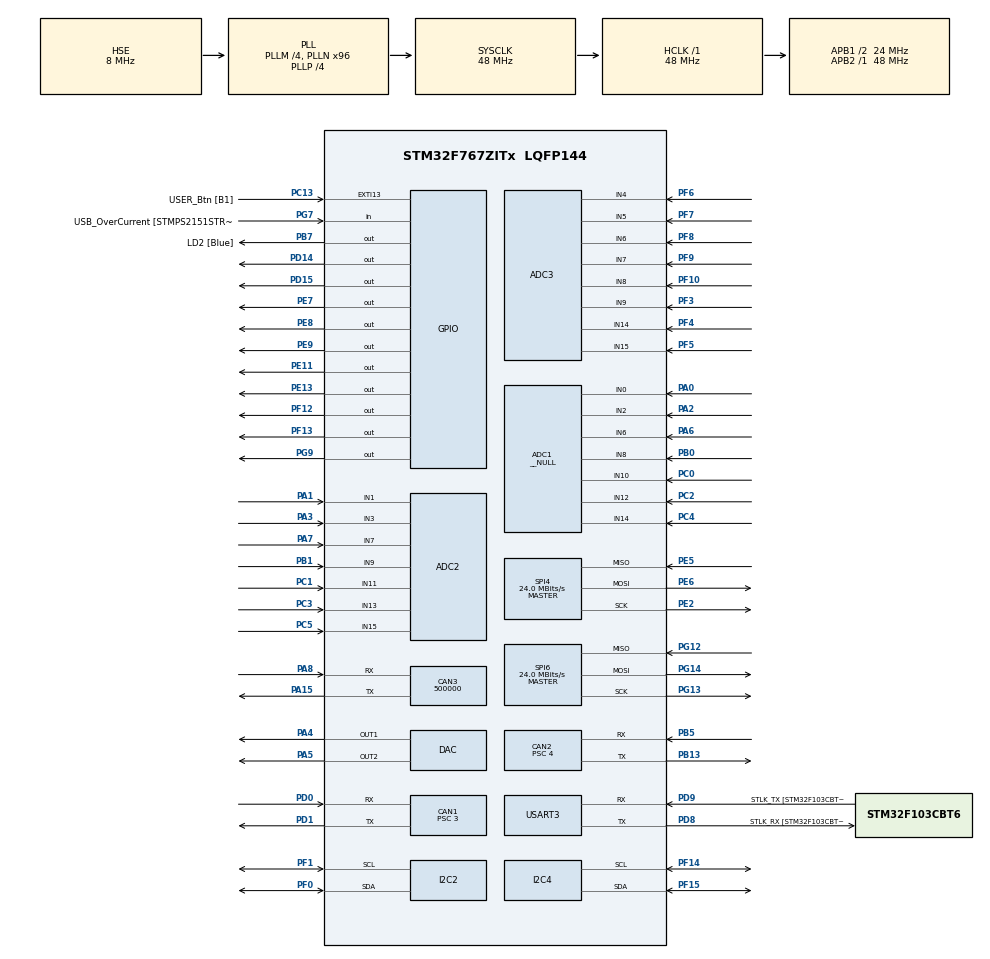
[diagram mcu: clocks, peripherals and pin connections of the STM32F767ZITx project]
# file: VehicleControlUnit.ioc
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ADC1.Channel-2\#ChannelRegularConversion=ADC_CHANNEL_0
ADC1.Channel-3\#ChannelRegularConversion=ADC_CHANNEL_2
ADC1.Channel-4\#ChannelRegularConversion=ADC_CHANNEL_6
ADC1.Channel-5\#ChannelRegularConversion=ADC_CHANNEL_8
ADC1.Channel-6\#ChannelRegularConversion=ADC_CHANNEL_10
ADC1.Channel-7\#ChannelRegularConversion=ADC_CHANNEL_12
ADC1.Channel-8\#ChannelRegularConversion=ADC_CHANNEL_12
ADC1.ClockPrescaler=ADC_CLOCK_SYNC_PCLK_DIV4
ADC1.ContinuousConvMode=DISABLE
ADC1.DMAContinuousRequests=ENABLE
ADC1.EOCSelection=ADC_EOC_SEQ_CONV
ADC1.ExternalTrigConv=ADC_EXTERNALTRIGCONV_T2_TRGO
ADC1.Mode=__NULL
ADC1.NbrOfConversion=7
ADC1.NbrOfConversionFlag=1
ADC1.Rank-2\#ChannelRegularConversion=1
ADC1.Rank-3\#ChannelRegularConversion=2
ADC1.Rank-4\#ChannelRegularConversion=3
ADC1.Rank-5\#ChannelRegularConversion=4
ADC1.Rank-6\#ChannelRegularConversion=5
ADC1.Rank-7\#ChannelRegularConversion=6
ADC1.Rank-8\#ChannelRegularConversion=7
ADC1.SamplingTime-2\#ChannelRegularConversion=ADC_SAMPLETIME_28CYCLES
ADC1.SamplingTime-3\#ChannelRegularConversion=ADC_SAMPLETIME_28CYCLES
ADC1.SamplingTime-4\#ChannelRegularConversion=ADC_SAMPLETIME_28CYCLES
ADC1.SamplingTime-5\#ChannelRegularConversion=ADC_SAMPLETIME_28CYCLES
ADC1.SamplingTime-6\#ChannelRegularConversion=ADC_SAMPLETIME_28CYCLES
ADC1.SamplingTime-7\#ChannelRegularConversion=ADC_SAMPLETIME_28CYCLES
ADC1.SamplingTime-8\#ChannelRegularConversion=ADC_SAMPLETIME_28CYCLES
ADC1.master=1
ADC2.Channel-2\#ChannelRegularConversion=ADC_CHANNEL_1
ADC2.Channel-3\#ChannelRegularConversion=ADC_CHANNEL_3
ADC2.Channel-4\#ChannelRegularConversion=ADC_CHANNEL_7
ADC2.Channel-5\#ChannelRegularConversion=ADC_CHANNEL_9
ADC2.Channel-6\#ChannelRegularConversion=ADC_CHANNEL_11
ADC2.Channel-7\#ChannelRegularConversion=ADC_CHANNEL_13
ADC2.Channel-8\#ChannelRegularConversion=ADC_CHANNEL_15
ADC2.ClockPrescaler=ADC_CLOCK_SYNC_PCLK_DIV4
ADC2.ContinuousConvMode=DISABLE
ADC2.DMAContinuousRequests=ENABLE
ADC2.EOCSelection=ADC_EOC_SEQ_CONV
ADC2.ExternalTrigConv=ADC_EXTERNALTRIGCONV_T2_TRGO
ADC2.NbrOfConversion=7
ADC2.NbrOfConversionFlag=1
ADC2.Rank-2\#ChannelRegularConversion=1
ADC2.Rank-3\#ChannelRegularConversion=2
ADC2.Rank-4\#ChannelRegularConversion=3
ADC2.Rank-5\#ChannelRegularConversion=4
ADC2.Rank-6\#ChannelRegularConversion=5
ADC2.Rank-7\#ChannelRegularConversion=6
ADC2.Rank-8\#ChannelRegularConversion=7
ADC2.SamplingTime-2\#ChannelRegularConversion=ADC_SAMPLETIME_28CYCLES
ADC2.SamplingTime-3\#ChannelRegularConversion=ADC_SAMPLETIME_28CYCLES
ADC2.SamplingTime-4\#ChannelRegularConversion=ADC_SAMPLETIME_28CYCLES
ADC2.SamplingTime-5\#ChannelRegularConversion=ADC_SAMPLETIME_28CYCLES
ADC2.SamplingTime-6\#ChannelRegularConversion=ADC_SAMPLETIME_28CYCLES
ADC2.SamplingTime-7\#ChannelRegularConversion=ADC_SAMPLETIME_28CYCLES
ADC2.SamplingTime-8\#ChannelRegularConversion=ADC_SAMPLETIME_28CYCLES
ADC3.Channel-10\#ChannelRegularConversion=ADC_CHANNEL_14
ADC3.Channel-11\#ChannelRegularConversion=ADC_CHANNEL_15
ADC3.Channel-4\#ChannelRegularConversion=ADC_CHANNEL_4
ADC3.Channel-5\#ChannelRegularConversion=ADC_CHANNEL_5
ADC3.Channel-6\#ChannelRegularConversion=ADC_CHANNEL_6
ADC3.Channel-7\#ChannelRegularConversion=ADC_CHANNEL_7
ADC3.Channel-8\#ChannelRegularConversion=ADC_CHANNEL_8
ADC3.Channel-9\#ChannelRegularConversion=ADC_CHANNEL_9
ADC3.ClockPrescaler=ADC_CLOCK_SYNC_PCLK_DIV4
ADC3.DMAContinuousRequests=ENABLE
ADC3.ExternalTrigConv=ADC_EXTERNALTRIGCONV_T2_TRGO
ADC3.NbrOfConversion=8
ADC3.NbrOfConversionFlag=1
ADC3.Rank-10\#ChannelRegularConversion=7
ADC3.Rank-11\#ChannelRegularConversion=8
ADC3.Rank-4\#ChannelRegularConversion=1
ADC3.Rank-5\#ChannelRegularConversion=2
ADC3.Rank-6\#ChannelRegularConversion=3
ADC3.Rank-7\#ChannelRegularConversion=4
ADC3.Rank-8\#ChannelRegularConversion=5
ADC3.Rank-9\#ChannelRegularConversion=6
ADC3.SamplingTime-10\#ChannelRegularConversion=ADC_SAMPLETIME_28CYCLES
ADC3.SamplingTime-11\#ChannelRegularConversion=ADC_SAMPLETIME_28CYCLES
ADC3.SamplingTime-4\#ChannelRegularConversion=ADC_SAMPLETIME_28CYCLES
ADC3.SamplingTime-5\#ChannelRegularConversion=ADC_SAMPLETIME_28CYCLES
ADC3.SamplingTime-6\#ChannelRegularConversion=ADC_SAMPLETIME_28CYCLES
ADC3.SamplingTime-7\#ChannelRegularConversion=ADC_SAMPLETIME_28CYCLES
ADC3.SamplingTime-8\#ChannelRegularConversion=ADC_SAMPLETIME_28CYCLES
ADC3.SamplingTime-9\#ChannelRegularConversion=ADC_SAMPLETIME_28CYCLES
CAN1.BS1=CAN_BS1_13TQ
CAN1.BS2=CAN_BS2_2TQ
CAN1.CalculateBaudRate=500000
CAN1.CalculateTimeBit=2000
CAN1.CalculateTimeQuantum=125.0
CAN1.Prescaler=3
CAN2.BS1=CAN_BS1_10TQ
CAN2.CalculateBaudRate=500000
CAN2.CalculateTimeBit=2000
CAN2.CalculateTimeQuantum=166.66666666666666
CAN2.Prescaler=4
CAN3.CalculateBaudRate=500000
CAN3.CalculateTimeBit=2000
CAN3.CalculateTimeQuantum=666.6666666666666
CORTEX_M7.CPU_DCache=Disabled
CORTEX_M7.CPU_ICache=Disabled
DAC.DAC_Trigger=DAC_TRIGGER_T2_TRGO
DAC.DAC_Trigger2=DAC_TRIGGER_T2_TRGO
Dma.ADC1.0.Direction=DMA_PERIPH_TO_MEMORY
Dma.ADC1.0.FIFOMode=DMA_FIFOMODE_DISABLE
Dma.ADC1.0.Instance=DMA2_Stream0
Dma.ADC1.0.MemDataAlignment=DMA_MDATAALIGN_WORD
Dma.ADC1.0.MemInc=DMA_MINC_ENABLE
Dma.ADC1.0.Mode=DMA_CIRCULAR
Dma.ADC1.0.PeriphDataAlignment=DMA_PDATAALIGN_WORD
Dma.ADC1.0.PeriphInc=DMA_PINC_DISABLE
Dma.ADC1.0.Priority=DMA_PRIORITY_LOW
Dma.ADC2.1.Direction=DMA_PERIPH_TO_MEMORY
Dma.ADC2.1.FIFOMode=DMA_FIFOMODE_DISABLE
Dma.ADC2.1.Instance=DMA2_Stream2
Dma.ADC2.1.MemDataAlignment=DMA_MDATAALIGN_WORD
Dma.ADC2.1.MemInc=DMA_MINC_ENABLE
Dma.ADC2.1.Mode=DMA_CIRCULAR
Dma.ADC2.1.PeriphDataAlignment=DMA_PDATAALIGN_WORD
Dma.ADC2.1.PeriphInc=DMA_PINC_DISABLE
Dma.ADC2.1.Priority=DMA_PRIORITY_LOW
Dma.ADC3.2.Direction=DMA_PERIPH_TO_MEMORY
Dma.ADC3.2.FIFOMode=DMA_FIFOMODE_DISABLE
Dma.ADC3.2.Instance=DMA2_Stream1
Dma.ADC3.2.MemDataAlignment=DMA_MDATAALIGN_WORD
Dma.ADC3.2.MemInc=DMA_MINC_ENABLE
Dma.ADC3.2.Mode=DMA_CIRCULAR
Dma.ADC3.2.PeriphDataAlignment=DMA_PDATAALIGN_WORD
Dma.ADC3.2.PeriphInc=DMA_PINC_DISABLE
Dma.ADC3.2.Priority=DMA_PRIORITY_LOW
Dma.DAC1.3.Direction=DMA_MEMORY_TO_PERIPH
Dma.DAC1.3.FIFOMode=DMA_FIFOMODE_DISABLE
Dma.DAC1.3.Instance=DMA1_Stream5
Dma.DAC1.3.MemDataAlignment=DMA_MDATAALIGN_HALFWORD
Dma.DAC1.3.MemInc=DMA_MINC_ENABLE
Dma.DAC1.3.Mode=DMA_CIRCULAR
Dma.DAC1.3.PeriphDataAlignment=DMA_PDATAALIGN_HALFWORD
Dma.DAC1.3.PeriphInc=DMA_PINC_DISABLE
Dma.DAC1.3.Priority=DMA_PRIORITY_LOW
Dma.DAC2.4.Direction=DMA_MEMORY_TO_PERIPH
Dma.DAC2.4.FIFOMode=DMA_FIFOMODE_DISABLE
Dma.DAC2.4.Instance=DMA1_Stream6
Dma.DAC2.4.MemDataAlignment=DMA_MDATAALIGN_HALFWORD
Dma.DAC2.4.MemInc=DMA_MINC_ENABLE
Dma.DAC2.4.Mode=DMA_CIRCULAR
Dma.DAC2.4.PeriphDataAlignment=DMA_PDATAALIGN_HALFWORD
Dma.DAC2.4.PeriphInc=DMA_PINC_DISABLE
Dma.DAC2.4.Priority=DMA_PRIORITY_LOW
Dma.Request0=ADC1
Dma.Request1=ADC2
Dma.Request2=ADC3
Dma.Request3=DAC1
Dma.Request4=DAC2
FREERTOS.Tasks01=defaultTask,24,128,StartDefaultTask,Default,NULL,Dynamic,NULL,NULL
I2C2.Timing=0x00506682
I2C4.Timing=0x00506682
Mcu.Family=STM32F7
Mcu.Name=STM32F767ZITx
Mcu.Package=LQFP144
NVIC.CAN1_RX0_IRQn=true\:5\:0\:false\:false\:true\:true\:true\:true\:true
NVIC.CAN2_RX0_IRQn=true\:5\:0\:false\:false\:true\:true\:true\:true\:true
NVIC.DMA1_Stream5_IRQn=true\:5\:0\:false\:false\:true\:true\:false\:true\:true
NVIC.DMA1_Stream6_IRQn=true\:5\:0\:false\:false\:true\:true\:false\:true\:true
NVIC.DMA2_Stream0_IRQn=true\:5\:0\:false\:false\:true\:true\:false\:true\:true
NVIC.DMA2_Stream1_IRQn=true\:5\:0\:false\:false\:true\:true\:false\:true\:true
NVIC.DMA2_Stream2_IRQn=true\:5\:0\:false\:false\:true\:true\:false\:true\:true
NVIC.PriorityGroup=NVIC_PRIORITYGROUP_4
NVIC.TIM2_IRQn=true\:5\:0\:false\:false\:true\:true\:true\:true\:true
NVIC.USART3_IRQn=true\:5\:0\:false\:false\:true\:true\:true\:true\:true
PA0/WKUP.Signal=ADCx_IN0
PA1.Signal=ADCx_IN1
PA13.GPIO_Label=TMS
PA13.Mode=Trace_Asynchronous_SW
PA13.Signal=SYS_JTMS-SWDIO
PA14.GPIO_Label=TCK
PA14.Mode=Trace_Asynchronous_SW
PA14.Signal=SYS_JTCK-SWCLK
PA15.Mode=CAN_Activate
PA15.Signal=CAN3_TX
PA2.Signal=ADCx_IN2
PA3.Signal=ADCx_IN3
PA4.Signal=COMP_DAC1_group
PA5.Signal=COMP_DAC2_group
PA6.Signal=ADCx_IN6
PA7.Signal=ADCx_IN7
PA8.Mode=CAN_Activate
PA8.Signal=CAN3_RX
PB0.Signal=ADCx_IN8
PB1.Signal=ADCx_IN9
PB13.Mode=CAN_Activate
PB13.Signal=CAN2_TX
PB3.Mode=Trace_Asynchronous_SW
PB3.Signal=SYS_JTDO-SWO
PB5.Mode=CAN_Activate
PB5.Signal=CAN2_RX
PB7.GPIO_Label=LD2 [Blue]
PB7.Signal=GPIO_Output
PB8.Signal=SDMMC1_D4
PB9.Signal=SDMMC1_D5
PC0.Signal=ADCx_IN10
PC1.Signal=ADCx_IN11
PC10.Signal=SDMMC1_D2
PC11.Signal=SDMMC1_D3
PC12.Signal=SDMMC1_CK
PC13.GPIO_Label=USER_Btn [B1]
PC13.Signal=GPXTI13
PC14/OSC32_IN.Mode=LSE-External-Oscillator
PC14/OSC32_IN.Signal=RCC_OSC32_IN
PC15/OSC32_OUT.Mode=LSE-External-Oscillator
PC15/OSC32_OUT.Signal=RCC_OSC32_OUT
PC2.Signal=ADCx_IN12
PC3.Signal=ADCx_IN13
PC4.Signal=ADCx_IN14
PC5.Signal=ADCx_IN15
PC6.Signal=SDMMC1_D6
PC7.Signal=SDMMC1_D7
PC8.Signal=SDMMC1_D0
PC9.Signal=SDMMC1_D1
PD0.Mode=CAN_Activate
PD0.Signal=CAN1_RX
PD1.Mode=CAN_Activate
PD1.Signal=CAN1_TX
PD14.Signal=GPIO_Output
PD15.Signal=GPIO_Output
PD2.Signal=SDMMC1_CMD
PD8.GPIO_Label=STLK_RX [STM32F103CBT6_PA3]
PD8.Mode=Asynchronous
PD8.Signal=USART3_TX
PD9.GPIO_Label=STLK_TX [STM32F103CBT6_PA2]
PD9.Mode=Asynchronous
PD9.Signal=USART3_RX
PE11.Signal=GPIO_Output
PE13.Signal=GPIO_Output
PE2.Mode=Full_Duplex_Master
PE2.Signal=SPI4_SCK
PE5.Mode=Full_Duplex_Master
PE5.Signal=SPI4_MISO
PE6.Mode=Full_Duplex_Master
PE6.Signal=SPI4_MOSI
PE7.Signal=GPIO_Output
PE8.Signal=GPIO_Output
PE9.Signal=GPIO_Output
PF0.Mode=I2C
PF0.Signal=I2C2_SDA
PF1.Mode=I2C
PF1.Signal=I2C2_SCL
PF10.Mode=IN8
PF10.Signal=ADC3_IN8
PF12.Signal=GPIO_Output
PF13.Signal=GPIO_Output
PF14.Mode=I2C
PF14.Signal=I2C4_SCL
PF15.Mode=I2C
PF15.Signal=I2C4_SDA
PF3.Mode=IN9
PF3.Signal=ADC3_IN9
PF4.Mode=IN14
PF4.Signal=ADC3_IN14
PF5.Mode=IN15
PF5.Signal=ADC3_IN15
PF6.Mode=IN4
PF6.Signal=ADC3_IN4
PF7.Mode=IN5
PF7.Signal=ADC3_IN5
PF8.Mode=IN6
PF8.Signal=ADC3_IN6
PF9.Mode=IN7
PF9.Signal=ADC3_IN7
PG12.Mode=Full_Duplex_Master
PG12.Signal=SPI6_MISO
PG13.Mode=Full_Duplex_Master
PG13.Signal=SPI6_SCK
PG14.Mode=Full_Duplex_Master
PG14.Signal=SPI6_MOSI
PG7.GPIO_Label=USB_OverCurrent [STMPS2151STR_FAULT]
PG7.Signal=GPIO_Input
PG9.Signal=GPIO_Output
PH0/OSC_IN.GPIO_Label=MCO [STM32F103CBT6_PA8]
PH0/OSC_IN.Mode=HSE-External-Clock-Source
PH0/OSC_IN.Signal=RCC_OSC_IN
PH1/OSC_OUT.Mode=HSE-External-Clock-Source
PH1/OSC_OUT.Signal=RCC_OSC_OUT
ProjectManager.HeapSize=0x200
ProjectManager.StackSize=0x400
ProjectManager.TargetToolchain=STM32CubeIDE
RCC.48MHZClocksFreq_Value=24000000
RCC.AHBFreq_Value=48000000
RCC.APB1CLKDivider=RCC_HCLK_DIV2
RCC.APB1Freq_Value=24000000
RCC.APB1TimFreq_Value=48000000
RCC.APB2Freq_Value=48000000
RCC.APB2TimFreq_Value=48000000
RCC.CortexFreq_Value=48000000
RCC.HCLKFreq_Value=48000000
RCC.HSE_VALUE=8000000
RCC.HSI_VALUE=16000000
RCC.PLLM=4
RCC.PLLMUL=RCC_PLL_MUL9
RCC.PLLN=96
RCC.PLLP=RCC_PLLP_DIV4
RCC.PLLQ=4
RCC.PLLSourceVirtual=RCC_PLLSOURCE_HSE
RCC.PRESCALERUSB=RCC_USBCLKSOURCE_PLL_DIV1_5
RCC.SYSCLKFreq_VALUE=48000000
RCC.SYSCLKSource=RCC_SYSCLKSOURCE_PLLCLK
RCC.SYSCLKSourceVirtual=RCC_SYSCLKSOURCE_PLLCLK
RCC.USBFreq_Value=48000000
RCC.VCOOutputFreq_Value=192000000
SH.ADCx_IN0.0=ADC1_IN0,IN0
SH.ADCx_IN1.0=ADC2_IN1,IN1
SH.ADCx_IN10.0=ADC1_IN10,IN10
SH.ADCx_IN11.0=ADC2_IN11,IN11
SH.ADCx_IN12.0=ADC1_IN12,IN12
SH.ADCx_IN13.0=ADC2_IN13,IN13
SH.ADCx_IN14.0=ADC1_IN14,IN14
SH.ADCx_IN15.0=ADC2_IN15,IN15
SH.ADCx_IN2.0=ADC1_IN2,IN2
SH.ADCx_IN3.0=ADC2_IN3,IN3
SH.ADCx_IN6.0=ADC1_IN6,IN6
SH.ADCx_IN7.0=ADC2_IN7,IN7
SH.ADCx_IN8.0=ADC1_IN8,IN8
SH.ADCx_IN9.0=ADC2_IN9,IN9
SH.COMP_DAC1_group.0=DAC_OUT1,DAC_OUT1
SH.COMP_DAC2_group.0=DAC_OUT2,DAC_OUT2
SPI4.CalculateBaudRate=24.0 MBits/s
SPI4.Direction=SPI_DIRECTION_2LINES
SPI4.Mode=SPI_MODE_MASTER
SPI4.VirtualType=VM_MASTER
SPI6.CalculateBaudRate=24.0 MBits/s
SPI6.Direction=SPI_DIRECTION_2LINES
SPI6.Mode=SPI_MODE_MASTER
SPI6.VirtualType=VM_MASTER
TIM1.Period=999
TIM1.Prescaler=47999
TIM2.Period=479999
TIM2.Prescaler=0
TIM2.TIM_MasterOutputTrigger=TIM_TRGO_UPDATE
USART3.VirtualMode-Asynchronous=VM_ASYNC
VP_FREERTOS_VS_CMSIS_V2.Mode=CMSIS_V2
VP_TIM1_VS_ClockSourceINT.Mode=Internal
VP_TIM2_VS_ClockSourceINT.Mode=Internal
board=NUCLEO-F767ZI

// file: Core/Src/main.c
/* USER CODE BEGIN Header */
/**
  ******************************************************************************
  * @file           : main.c
  * @brief          : Main program body
  ******************************************************************************
  * @attention
  *
  * Copyright (c) 2024 STMicroelectronics.
  * All rights reserved.
  *
  * This software is licensed under terms that can be found in the LICENSE file
  * in the root directory of this software component.
  * If no LICENSE file comes with this software, it is provided AS-IS.
  *
  ******************************************************************************
  */
/* USER CODE END Header */
#include "main.h"
#include "cmsis_os.h"

/* USER CODE BEGIN Includes */
#include "../Inc/Files/can1_dbc.h"
#include "../Inc/Scheduler/Scheduler.h"
#include "../Inc/Sensors/AnalogSensor.h"
#include "../Inc/Systems/Comms/Can/Can.h"
#include "../Inc/Systems/Controller/Apps.h"
#include "../Inc/Systems/Controller/BrakeSystemControl.h"
#include "../Inc/Systems/Controller/RTD.h"
#include "../Inc/Systems/Controller/TorqueControl.h"
#include "../Inc/Systems/External/Inverter.h"
#include "../Inc/Systems/Monitor/AppsMonitor.h"
#include "../Inc/Systems/Monitor/BrakePolice.h"
#include "../Inc/Systems/Monitor/RTDMonitor.h"
#include "../Inc/Systems/Monitor/TorquePolice.h"
#include "../Inc/Utils/Constants.h"
#include "../Inc/Utils/Telemetry.h"

#ifndef TEST_MODE
#include "stm32f7xx_hal_adc.h"
#include "stm32f7xx_it.h"
#endif
/* USER CODE END Includes */

/* USER CODE BEGIN PM */
#ifndef TEST_MODE
/* USER CODE END PM */

ADC_HandleTypeDef hadc1;
ADC_HandleTypeDef hadc2;
ADC_HandleTypeDef hadc3;
DMA_HandleTypeDef hdma_adc1;
DMA_HandleTypeDef hdma_adc2;
DMA_HandleTypeDef hdma_adc3;

CAN_HandleTypeDef hcan1;
CAN_HandleTypeDef hcan2;
CAN_HandleTypeDef hcan3;

DAC_HandleTypeDef hdac;
DMA_HandleTypeDef hdma_dac1;
DMA_HandleTypeDef hdma_dac2;

I2C_HandleTypeDef hi2c2;
I2C_HandleTypeDef hi2c4;

SPI_HandleTypeDef hspi4;
SPI_HandleTypeDef hspi6;

TIM_HandleTypeDef htim1;
TIM_HandleTypeDef htim2;

UART_HandleTypeDef huart3;

/* Definitions for defaultTask */
osThreadId_t defaultTaskHandle;
const osThreadAttr_t defaultTask_attributes = {
  .name = "defaultTask",
  .stack_size = 128 * 4,
  .priority = (osPriority_t) osPriorityNormal,
};

void SystemClock_Config(void);
static void MX_GPIO_Init(void);
static void MX_DMA_Init(void);
static void MX_TIM1_Init(void);
static void MX_ADC1_Init(void);
static void MX_ADC2_Init(void);
static void MX_ADC3_Init(void);
static void MX_CAN1_Init(void);
static void MX_CAN2_Init(void);
static void MX_USART3_UART_Init(void);
static void MX_TIM2_Init(void);
static void MX_DAC_Init(void);
static void MX_CAN3_Init(void);
static void MX_I2C2_Init(void);
static void MX_I2C4_Init(void);
static void MX_SPI4_Init(void);
static void MX_SPI6_Init(void);
void StartDefaultTask(void *argument);

/* USER CODE BEGIN PFP */
#endif
/* USER CODE END PFP */

/* USER CODE BEGIN 0 */
uint32_t adc1_buffer[ADC1_CHANNEL_SIZE];
uint32_t adc2_buffer[ADC2_CHANNEL_SIZE];
uint32_t adc3_buffer[ADC3_CHANNEL_SIZE];
uint32_t dac1_buffer[DAC1_BUFFER_SIZE];
uint32_t dac2_buffer[DAC2_BUFFER_SIZE];
uint8_t digital_out_buffer[NUM_DIGITAL_OUTPUTS];
uint8_t digital_in_buffer[NUM_DIGITAL_INPUTS];

/* USER CODE END 0 */

int main(void)
{

  /* USER CODE BEGIN 1 */

  #ifndef TEST_MODE

  /* USER CODE END 1 */

  /* MCU Configuration--------------------------------------------------------*/

  /* Reset of all peripherals, Initializes the Flash interface and the Systick. */
  HAL_Init();

  /* Configure the system clock */
  SystemClock_Config();

  /* Initialize all configured peripherals */
  MX_GPIO_Init();
  MX_DMA_Init();
  MX_TIM1_Init();
  MX_ADC1_Init();
  MX_ADC2_Init();
  MX_ADC3_Init();
  MX_CAN1_Init();
  MX_CAN2_Init();
  MX_USART3_UART_Init();
  MX_TIM2_Init();
  MX_DAC_Init();
  MX_CAN3_Init();
  MX_I2C2_Init();
  MX_I2C4_Init();
  MX_SPI4_Init();
  MX_SPI6_Init();
  /* USER CODE BEGIN 2 */

  // Clear the screen
  printf("\033[2J\033[1;1H");
  printf("Welcome to VCU!!!\r\n");
  if (init_CANBus(CAN_1) != 0) {
    printf("CAN1 init failed\r\n");
  }

  // Init Telemetry
  initTelemetry();

  // Begin ADC DMA
  if(HAL_ADC_Start_DMA(&hadc1, (uint32_t*)adc1_buffer, 7) != HAL_OK) {
	  Error_Handler();
  }

  if(HAL_ADC_Start_DMA(&hadc2, (uint32_t*)adc2_buffer, 7) != HAL_OK) {
    Error_Handler();
  }

  if(HAL_ADC_Start_DMA(&hadc3, (uint32_t*)adc3_buffer, 8) != HAL_OK) {
    Error_Handler();
  }

  // Begin DAC DMA
  if(HAL_DAC_Start_DMA(&hdac, DAC_CHANNEL_1, (uint32_t*)dac1_buffer, DAC1_BUFFER_SIZE, DAC_ALIGN_12B_R) != HAL_OK) {
    Error_Handler();
  }

  __HAL_UART_ENABLE_IT(&huart3, UART_IT_RXNE);
  initUartConfigListener();

  uint32_t multi_mode = (ADC123_COMMON->CCR & ADC_CCR_MULTI);
  printf("ADC Multi-mode: 0x%08lX\r\n", multi_mode);

  #endif

  // Add a message to the CAN message list
  CAN_Signal_Template signals[8] = {
    { .name = "VDD", .start_bit = 0, .length = 8, .endian = 0, .isSigned = 0, .scale = 0.1, .offset = 0, .min = 0, .max = 255, .unit = "voltage", .reciever = "reciever" },
    { .name = "Char 2", .start_bit = 8, .length = 8, .endian = 0, .isSigned = 0, .scale = 1, .offset = 0, .min = 0, .max = 255, .unit = "unit", .reciever = "reciever" },
    { .name = "Char 3", .start_bit = 16, .length = 8, .endian = 0, .isSigned = 0, .scale = 1, .offset = 0, .min = 0, .max = 255, .unit = "unit", .reciever = "reciever" },
    { .name = "Char 4", .start_bit = 24, .length = 8, .endian = 0, .isSigned = 0, .scale = 1, .offset = 0, .min = 0, .max = 255, .unit = "unit", .reciever = "reciever" },
    { .name = "Char 5", .start_bit = 32, .length = 8, .endian = 0, .isSigned = 0, .scale = 1, .offset = 0, .min = 0, .max = 255, .unit = "unit", .reciever = "reciever" },
    { .name = "Char 6", .start_bit = 40, .length = 8, .endian = 0, .isSigned = 0, .scale = 1, .offset = 0, .min = 0, .max = 255, .unit = "unit", .reciever = "reciever" },
    { .name = "Char 7", .start_bit = 48, .length = 8, .endian = 0, .isSigned = 0, .scale = 1, .offset = 0, .min = 0, .max = 255, .unit = "unit", .reciever = "reciever" },
    { .name = "Char 8", .start_bit = 56, .length = 8, .endian = 0, .isSigned = 0, .scale = 1, .offset = 0, .min = 0, .max = 255, .unit = "unit", .reciever = "reciever" }
  };

  add_message_lop(CAN_1, 0x123, 8, 0, 0, "Message 1", "AD3", 8, signals);

  add_message_lop(CAN_1, 0x124, 8, 0, 0, "Message 2", "VCU", 8, signals);

  // Print the CAN message list
  print_CAN_Messages_Lists();

  uint8_t txdata[8] = {0, 1, 2, 3, 4, 5, 6, 7};
  send_CAN_message(CAN_1, CAN_2A, 124, txdata, 8);

  // Make Apps Controller and Monitor
  Apps apps;
  initApps(&apps, 10, 8, 4);

  AppsMonitor am;
  initAppsMonitor(&am, &apps, 10);

  // Bind Appsmonitor to Apps
  apps.base.addMonitor(&apps, &am);

  // Start the Apps Monitor
  startAppsMonitor(&am);

  // Make Break Controller and Monitor
  BrakeSystemControl bsc;
  initBrakeSystemControl(&bsc, 10, 200, 400, 1000, 10, 5, 6, 0);

  BrakePolice bp;
  initBrakePolice(&bp, &bsc, 100, 200);

  // Bind BrakePolice to BrakeSystemControl
  bsc.base.addMonitor(&bsc, &bp);

  // Start the Brake Controller and Monitor
  startBrakeSystemControl(&bsc);
  startBrakePolice(&bp);

  // Make RTD Controller and Monitor
  RTD rtd;
  initRTD(&rtd, &apps, &bsc, 10, 0, 1);

  RTDMonitor rm;
  initRTDMonitor(&rm, &rtd, 10);

  // Bind RTDMonitor to RTD
  rtd.base.addMonitor(&rtd, &rm);

  // Start the RTD Controller and Monitor
  startRTD(&rtd);
  startRTDMonitor(&rm);

  // Make Torque Controller and Monitor
  TorqueControl tc;
  initTorqueControl(&tc, &apps, 10, 240);

  TorquePolice tp;
  initTorquePolice(&tp, &tc, &bsc, &rtd, 100, 240);

  // Bind TorquePolice to TorqueControl
  tc.base.addMonitor(&tc, &tp);

  // Start the Torque Controller and Monitor
  startTorqueControl(&tc);
  startTorquePolice(&tp);

  // Make Inverter
  Inverter inverter;
  initInverter(&inverter, &tc, 10, 200, 100, 400);

  // Make Scheduler from updateable array
  Scheduler scheduler;

  Updateable* updateables[6];
  updateables[0] = &apps.base.system.updateable;
  updateables[1] = &bsc.base.system.updateable;
  updateables[2] = &rtd.base.system.updateable;
  updateables[3] = &tc.base.system.updateable;
  updateables[4] = &inverter.base.system.updateable;
  updateables[5] = NULL;

  SchedulerInit(&scheduler, updateables);

  printf("Starting Vehicle Control Unit with FreeRTOS scheduler...\n");

  // Start the Scheduler
  SchedulerRun(&scheduler);
  /* USER CODE END 2 */

  /* Init scheduler */
  osKernelInitialize();

  /* Create the thread(s) */
  /* creation of defaultTask */
  defaultTaskHandle = osThreadNew(StartDefaultTask, NULL, &defaultTask_attributes);

  /* Start scheduler */
  osKernelStart();

  /* We should never get here as control is now taken by the scheduler */

  /* Infinite loop */
  /* USER CODE BEGIN WHILE */
  while (1)
  {
    printf("ERROR: Scheduler returned unexpectedly!\n");
    HAL_Delay(1000);
    /* USER CODE END WHILE */

    /* USER CODE BEGIN 3 */
  }
  #ifndef TEST_MODE
  /* USER CODE END 3 */
}

void SystemClock_Config(void)
{
  RCC_OscInitTypeDef RCC_OscInitStruct = {0};
  RCC_ClkInitTypeDef RCC_ClkInitStruct = {0};

  /** Configure LSE Drive Capability
  */
  HAL_PWR_EnableBkUpAccess();

  /** Configure the main internal regulator output voltage
  */
  __HAL_RCC_PWR_CLK_ENABLE();
  __HAL_PWR_VOLTAGESCALING_CONFIG(PWR_REGULATOR_VOLTAGE_SCALE3);

  /** Initializes the RCC Oscillators according to the specified parameters
  * in the RCC_OscInitTypeDef structure.
  */
  RCC_OscInitStruct.OscillatorType = RCC_OSCILLATORTYPE_HSE;
  RCC_OscInitStruct.HSEState = RCC_HSE_BYPASS;
  RCC_OscInitStruct.PLL.PLLState = RCC_PLL_ON;
  RCC_OscInitStruct.PLL.PLLSource = RCC_PLLSOURCE_HSE;
  RCC_OscInitStruct.PLL.PLLM = 4;
  RCC_OscInitStruct.PLL.PLLN = 96;
  RCC_OscInitStruct.PLL.PLLP = RCC_PLLP_DIV4;
  RCC_OscInitStruct.PLL.PLLQ = 4;
  RCC_OscInitStruct.PLL.PLLR = 2;
  if (HAL_RCC_OscConfig(&RCC_OscInitStruct) != HAL_OK)
  {
    Error_Handler();
  }

  /** Initializes the CPU, AHB and APB buses clocks
  */
  RCC_ClkInitStruct.ClockType = RCC_CLOCKTYPE_HCLK|RCC_CLOCKTYPE_SYSCLK
                              |RCC_CLOCKTYPE_PCLK1|RCC_CLOCKTYPE_PCLK2;
  RCC_ClkInitStruct.SYSCLKSource = RCC_SYSCLKSOURCE_PLLCLK;
  RCC_ClkInitStruct.AHBCLKDivider = RCC_SYSCLK_DIV1;
  RCC_ClkInitStruct.APB1CLKDivider = RCC_HCLK_DIV2;
  RCC_ClkInitStruct.APB2CLKDivider = RCC_HCLK_DIV1;

  if (HAL_RCC_ClockConfig(&RCC_ClkInitStruct, FLASH_LATENCY_1) != HAL_OK)
  {
    Error_Handler();
  }
}

static void MX_ADC1_Init(void)
{

  ADC_ChannelConfTypeDef sConfig = {0};

  /** Configure the global features of the ADC (Clock, Resolution, Data Alignment and number of conversion)
  */
  hadc1.Instance = ADC1;
  hadc1.Init.ClockPrescaler = ADC_CLOCK_SYNC_PCLK_DIV4;
  hadc1.Init.Resolution = ADC_RESOLUTION_12B;
  hadc1.Init.ScanConvMode = ADC_SCAN_ENABLE;
  hadc1.Init.ContinuousConvMode = DISABLE;
  hadc1.Init.DiscontinuousConvMode = DISABLE;
  hadc1.Init.ExternalTrigConvEdge = ADC_EXTERNALTRIGCONVEDGE_RISING;
  hadc1.Init.ExternalTrigConv = ADC_EXTERNALTRIGCONV_T2_TRGO;
  hadc1.Init.DataAlign = ADC_DATAALIGN_RIGHT;
  hadc1.Init.NbrOfConversion = 7;
  hadc1.Init.DMAContinuousRequests = ENABLE;
  hadc1.Init.EOCSelection = ADC_EOC_SEQ_CONV;
  if (HAL_ADC_Init(&hadc1) != HAL_OK)
  {
    Error_Handler();
  }

  /** Configure for the selected ADC regular channel its corresponding rank in the sequencer and its sample time.
  */
  sConfig.Channel = ADC_CHANNEL_0;
  sConfig.Rank = ADC_REGULAR_RANK_1;
  sConfig.SamplingTime = ADC_SAMPLETIME_28CYCLES;
  if (HAL_ADC_ConfigChannel(&hadc1, &sConfig) != HAL_OK)
  {
    Error_Handler();
  }

  /** Configure for the selected ADC regular channel its corresponding rank in the sequencer and its sample time.
  */
  sConfig.Channel = ADC_CHANNEL_2;
  sConfig.Rank = ADC_REGULAR_RANK_2;
  if (HAL_ADC_ConfigChannel(&hadc1, &sConfig) != HAL_OK)
  {
    Error_Handler();
  }

  /** Configure for the selected ADC regular channel its corresponding rank in the sequencer and its sample time.
  */
  sConfig.Channel = ADC_CHANNEL_6;
  sConfig.Rank = ADC_REGULAR_RANK_3;
  if (HAL_ADC_ConfigChannel(&hadc1, &sConfig) != HAL_OK)
  {
    Error_Handler();
  }

  /** Configure for the selected ADC regular channel its corresponding rank in the sequencer and its sample time.
  */
  sConfig.Channel = ADC_CHANNEL_8;
  sConfig.Rank = ADC_REGULAR_RANK_4;
  if (HAL_ADC_ConfigChannel(&hadc1, &sConfig) != HAL_OK)
  {
    Error_Handler();
  }

  /** Configure for the selected ADC regular channel its corresponding rank in the sequencer and its sample time.
  */
  sConfig.Channel = ADC_CHANNEL_10;
  sConfig.Rank = ADC_REGULAR_RANK_5;
  if (HAL_ADC_ConfigChannel(&hadc1, &sConfig) != HAL_OK)
  {
    Error_Handler();
  }

  /** Configure for the selected ADC regular channel its corresponding rank in the sequencer and its sample time.
  */
  sConfig.Channel = ADC_CHANNEL_12;
  sConfig.Rank = ADC_REGULAR_RANK_6;
  if (HAL_ADC_ConfigChannel(&hadc1, &sConfig) != HAL_OK)
  {
    Error_Handler();
  }

  /** Configure for the selected ADC regular channel its corresponding rank in the sequencer and its sample time.
  */
  sConfig.Rank = ADC_REGULAR_RANK_7;
  if (HAL_ADC_ConfigChannel(&hadc1, &sConfig) != HAL_OK)
  {
    Error_Handler();
  }

}

static void MX_ADC2_Init(void)
{

  ADC_ChannelConfTypeDef sConfig = {0};

  /** Configure the global features of the ADC (Clock, Resolution, Data Alignment and number of conversion)
  */
  hadc2.Instance = ADC2;
  hadc2.Init.ClockPrescaler = ADC_CLOCK_SYNC_PCLK_DIV4;
  hadc2.Init.Resolution = ADC_RESOLUTION_12B;
  hadc2.Init.ScanConvMode = ADC_SCAN_ENABLE;
  hadc2.Init.ContinuousConvMode = DISABLE;
  hadc2.Init.DiscontinuousConvMode = DISABLE;
  hadc2.Init.ExternalTrigConvEdge = ADC_EXTERNALTRIGCONVEDGE_RISING;
  hadc2.Init.ExternalTrigConv = ADC_EXTERNALTRIGCONV_T2_TRGO;
  hadc2.Init.DataAlign = ADC_DATAALIGN_RIGHT;
  hadc2.Init.NbrOfConversion = 7;
  hadc2.Init.DMAContinuousRequests = ENABLE;
  hadc2.Init.EOCSelection = ADC_EOC_SEQ_CONV;
  if (HAL_ADC_Init(&hadc2) != HAL_OK)
  {
    Error_Handler();
  }

  /** Configure for the selected ADC regular channel its corresponding rank in the sequencer and its sample time.
  */
  sConfig.Channel = ADC_CHANNEL_1;
  sConfig.Rank = ADC_REGULAR_RANK_1;
  sConfig.SamplingTime = ADC_SAMPLETIME_28CYCLES;
  if (HAL_ADC_ConfigChannel(&hadc2, &sConfig) != HAL_OK)
  {
    Error_Handler();
  }

  /** Configure for the selected ADC regular channel its corresponding rank in the sequencer and its sample time.
  */
  sConfig.Channel = ADC_CHANNEL_3;
  sConfig.Rank = ADC_REGULAR_RANK_2;
  if (HAL_ADC_ConfigChannel(&hadc2, &sConfig) != HAL_OK)
  {
    Error_Handler();
  }

  /** Configure for the selected ADC regular channel its corresponding rank in the sequencer and its sample time.
  */
  sConfig.Channel = ADC_CHANNEL_7;
  sConfig.Rank = ADC_REGULAR_RANK_3;
  if (HAL_ADC_ConfigChannel(&hadc2, &sConfig) != HAL_OK)
  {
    Error_Handler();
  }

  /** Configure for the selected ADC regular channel its corresponding rank in the sequencer and its sample time.
  */
  sConfig.Channel = ADC_CHANNEL_9;
  sConfig.Rank = ADC_REGULAR_RANK_4;
  if (HAL_ADC_ConfigChannel(&hadc2, &sConfig) != HAL_OK)
  {
    Error_Handler();
  }

  /** Configure for the selected ADC regular channel its corresponding rank in the sequencer and its sample time.
  */
  sConfig.Channel = ADC_CHANNEL_11;
  sConfig.Rank = ADC_REGULAR_RANK_5;
  if (HAL_ADC_ConfigChannel(&hadc2, &sConfig) != HAL_OK)
  {
    Error_Handler();
  }

  /** Configure for the selected ADC regular channel its corresponding rank in the sequencer and its sample time.
  */
  sConfig.Channel = ADC_CHANNEL_13;
  sConfig.Rank = ADC_REGULAR_RANK_6;
  if (HAL_ADC_ConfigChannel(&hadc2, &sConfig) != HAL_OK)
  {
    Error_Handler();
  }

  /** Configure for the selected ADC regular channel its corresponding rank in the sequencer and its sample time.
  */
  sConfig.Channel = ADC_CHANNEL_15;
  sConfig.Rank = ADC_REGULAR_RANK_7;
  if (HAL_ADC_ConfigChannel(&hadc2, &sConfig) != HAL_OK)
  {
    Error_Handler();
  }

}

static void MX_ADC3_Init(void)
{

  ADC_ChannelConfTypeDef sConfig = {0};

  /** Configure the global features of the ADC (Clock, Resolution, Data Alignment and number of conversion)
  */
  hadc3.Instance = ADC3;
  hadc3.Init.ClockPrescaler = ADC_CLOCK_SYNC_PCLK_DIV4;
  hadc3.Init.Resolution = ADC_RESOLUTION_12B;
  hadc3.Init.ScanConvMode = ADC_SCAN_ENABLE;
  hadc3.Init.ContinuousConvMode = DISABLE;
  hadc3.Init.DiscontinuousConvMode = DISABLE;
  hadc3.Init.ExternalTrigConvEdge = ADC_EXTERNALTRIGCONVEDGE_RISING;
  hadc3.Init.ExternalTrigConv = ADC_EXTERNALTRIGCONV_T2_TRGO;
  hadc3.Init.DataAlign = ADC_DATAALIGN_RIGHT;
  hadc3.Init.NbrOfConversion = 8;
  hadc3.Init.DMAContinuousRequests = ENABLE;
  hadc3.Init.EOCSelection = ADC_EOC_SINGLE_CONV;
  if (HAL_ADC_Init(&hadc3) != HAL_OK)
  {
    Error_Handler();
  }

  /** Configure for the selected ADC regular channel its corresponding rank in the sequencer and its sample time.
  */
  sConfig.Channel = ADC_CHANNEL_4;
  sConfig.Rank = ADC_REGULAR_RANK_1;
  sConfig.SamplingTime = ADC_SAMPLETIME_28CYCLES;
  if (HAL_ADC_ConfigChannel(&hadc3, &sConfig) != HAL_OK)
  {
    Error_Handler();
  }

  /** Configure for the selected ADC regular channel its corresponding rank in the sequencer and its sample time.
  */
  sConfig.Channel = ADC_CHANNEL_5;
  sConfig.Rank = ADC_REGULAR_RANK_2;
  if (HAL_ADC_ConfigChannel(&hadc3, &sConfig) != HAL_OK)
  {
    Error_Handler();
  }

  /** Configure for the selected ADC regular channel its corresponding rank in the sequencer and its sample time.
  */
  sConfig.Channel = ADC_CHANNEL_6;
  sConfig.Rank = ADC_REGULAR_RANK_3;
  if (HAL_ADC_ConfigChannel(&hadc3, &sConfig) != HAL_OK)
  {
    Error_Handler();
  }

  /** Configure for the selected ADC regular channel its corresponding rank in the sequencer and its sample time.
  */
  sConfig.Channel = ADC_CHANNEL_7;
  sConfig.Rank = ADC_REGULAR_RANK_4;
  if (HAL_ADC_ConfigChannel(&hadc3, &sConfig) != HAL_OK)
  {
    Error_Handler();
  }

  /** Configure for the selected ADC regular channel its corresponding rank in the sequencer and its sample time.
  */
  sConfig.Channel = ADC_CHANNEL_8;
  sConfig.Rank = ADC_REGULAR_RANK_5;
  if (HAL_ADC_ConfigChannel(&hadc3, &sConfig) != HAL_OK)
  {
    Error_Handler();
  }

  /** Configure for the selected ADC regular channel its corresponding rank in the sequencer and its sample time.
  */
  sConfig.Channel = ADC_CHANNEL_9;
  sConfig.Rank = ADC_REGULAR_RANK_6;
  if (HAL_ADC_ConfigChannel(&hadc3, &sConfig) != HAL_OK)
  {
    Error_Handler();
  }

  /** Configure for the selected ADC regular channel its corresponding rank in the sequencer and its sample time.
  */
  sConfig.Channel = ADC_CHANNEL_14;
  sConfig.Rank = ADC_REGULAR_RANK_7;
  if (HAL_ADC_ConfigChannel(&hadc3, &sConfig) != HAL_OK)
  {
    Error_Handler();
  }

  /** Configure for the selected ADC regular channel its corresponding rank in the sequencer and its sample time.
  */
  sConfig.Channel = ADC_CHANNEL_15;
  sConfig.Rank = ADC_REGULAR_RANK_8;
  if (HAL_ADC_ConfigChannel(&hadc3, &sConfig) != HAL_OK)
  {
    Error_Handler();
  }

}

static void MX_CAN1_Init(void)
{

  hcan1.Instance = CAN1;
  hcan1.Init.Prescaler = 3;
  hcan1.Init.Mode = CAN_MODE_NORMAL;
  hcan1.Init.SyncJumpWidth = CAN_SJW_1TQ;
  hcan1.Init.TimeSeg1 = CAN_BS1_13TQ;
  hcan1.Init.TimeSeg2 = CAN_BS2_2TQ;
  hcan1.Init.TimeTriggeredMode = DISABLE;
  hcan1.Init.AutoBusOff = DISABLE;
  hcan1.Init.AutoWakeUp = DISABLE;
  hcan1.Init.AutoRetransmission = DISABLE;
  hcan1.Init.ReceiveFifoLocked = DISABLE;
  hcan1.Init.TransmitFifoPriority = DISABLE;
  if (HAL_CAN_Init(&hcan1) != HAL_OK)
  {
    Error_Handler();
  }
  /* USER CODE BEGIN CAN1_Init 2 */
  CAN_FilterTypeDef sFilterConfig;
  sFilterConfig.FilterBank = 0;
  sFilterConfig.FilterMode = CAN_FILTERMODE_IDMASK;
  sFilterConfig.FilterScale = CAN_FILTERSCALE_32BIT;
  sFilterConfig.FilterIdHigh = 0x0000;
  sFilterConfig.FilterIdLow = 0x0000;
  sFilterConfig.FilterMaskIdHigh = 0x0000;
  sFilterConfig.FilterMaskIdLow = 0x0000;
  sFilterConfig.FilterFIFOAssignment = CAN_RX_FIFO0;
  sFilterConfig.FilterActivation = ENABLE;
  sFilterConfig.SlaveStartFilterBank = 14;
  HAL_CAN_ConfigFilter(&hcan1, &sFilterConfig);

  // Stop CAN
  HAL_CAN_Stop(&hcan1);
  // Start CAN
  if (HAL_CAN_Start(&hcan1) != HAL_OK) {
      printf("CAN1 Start Error: ErrorCode = 0x%lX\r\n", hcan1.ErrorCode);
  }

  // Start IRQ for CAN Rx
  if (HAL_CAN_ActivateNotification(&hcan1, CAN_IT_RX_FIFO0_MSG_PENDING) != HAL_OK) {
  	printf("interrupt CAN1 init failed\r\n");
  }
  /* USER CODE END CAN1_Init 2 */

}

static void MX_CAN2_Init(void)
{

  hcan2.Instance = CAN2;
  hcan2.Init.Prescaler = 4;
  hcan2.Init.Mode = CAN_MODE_NORMAL;
  hcan2.Init.SyncJumpWidth = CAN_SJW_1TQ;
  hcan2.Init.TimeSeg1 = CAN_BS1_10TQ;
  hcan2.Init.TimeSeg2 = CAN_BS2_1TQ;
  hcan2.Init.TimeTriggeredMode = DISABLE;
  hcan2.Init.AutoBusOff = DISABLE;
  hcan2.Init.AutoWakeUp = DISABLE;
  hcan2.Init.AutoRetransmission = DISABLE;
  hcan2.Init.ReceiveFifoLocked = DISABLE;
  hcan2.Init.TransmitFifoPriority = DISABLE;
  if (HAL_CAN_Init(&hcan2) != HAL_OK)
  {
    Error_Handler();
  }
  /* USER CODE BEGIN CAN2_Init 2 */
  CAN_FilterTypeDef sFilterConfig;
  sFilterConfig.FilterBank = 0;
  sFilterConfig.FilterMode = CAN_FILTERMODE_IDMASK;
  sFilterConfig.FilterScale = CAN_FILTERSCALE_32BIT;
  sFilterConfig.FilterIdHigh = 0x0000;
  sFilterConfig.FilterIdLow = 0x0000;
  sFilterConfig.FilterMaskIdHigh = 0x0000;
  sFilterConfig.FilterMaskIdLow = 0x0000;
  sFilterConfig.FilterFIFOAssignment = CAN_RX_FIFO0;
  sFilterConfig.FilterActivation = ENABLE;
  sFilterConfig.SlaveStartFilterBank = 14;
  HAL_CAN_ConfigFilter(&hcan2, &sFilterConfig);

  // Stop CAN
  HAL_CAN_Stop(&hcan2);
  // Start CAN
  if (HAL_CAN_Start(&hcan2) != HAL_OK) {
      printf("CAN2 Start Error: ErrorCode = 0x%lX\r\n", hcan2.ErrorCode);
  }

  // Start IRQ for CAN Rx
  if (HAL_CAN_ActivateNotification(&hcan2, CAN_IT_RX_FIFO0_MSG_PENDING) != HAL_OK) {
  	printf("interrupt CAN2 init failed\r\n");
  }
  /* USER CODE END CAN2_Init 2 */

}

static void MX_CAN3_Init(void)
{

  hcan3.Instance = CAN3;
  hcan3.Init.Prescaler = 16;
  hcan3.Init.Mode = CAN_MODE_NORMAL;
  hcan3.Init.SyncJumpWidth = CAN_SJW_1TQ;
  hcan3.Init.TimeSeg1 = CAN_BS1_1TQ;
  hcan3.Init.TimeSeg2 = CAN_BS2_1TQ;
  hcan3.Init.TimeTriggeredMode = DISABLE;
  hcan3.Init.AutoBusOff = DISABLE;
  hcan3.Init.AutoWakeUp = DISABLE;
  hcan3.Init.AutoRetransmission = DISABLE;
  hcan3.Init.ReceiveFifoLocked = DISABLE;
  hcan3.Init.TransmitFifoPriority = DISABLE;
  if (HAL_CAN_Init(&hcan3) != HAL_OK)
  {
    Error_Handler();
  }

}

static void MX_DAC_Init(void)
{

  DAC_ChannelConfTypeDef sConfig = {0};

  /** DAC Initialization
  */
  hdac.Instance = DAC;
  if (HAL_DAC_Init(&hdac) != HAL_OK)
  {
    Error_Handler();
  }

  /** DAC channel OUT1 config
  */
  sConfig.DAC_Trigger = DAC_TRIGGER_T2_TRGO;
  sConfig.DAC_OutputBuffer = DAC_OUTPUTBUFFER_ENABLE;
  if (HAL_DAC_ConfigChannel(&hdac, &sConfig, DAC_CHANNEL_1) != HAL_OK)
  {
    Error_Handler();
  }

  /** DAC channel OUT2 config
  */
  if (HAL_DAC_ConfigChannel(&hdac, &sConfig, DAC_CHANNEL_2) != HAL_OK)
  {
    Error_Handler();
  }

}

static void MX_I2C2_Init(void)
{

  hi2c2.Instance = I2C2;
  hi2c2.Init.Timing = 0x00506682;
  hi2c2.Init.OwnAddress1 = 0;
  hi2c2.Init.AddressingMode = I2C_ADDRESSINGMODE_7BIT;
  hi2c2.Init.DualAddressMode = I2C_DUALADDRESS_DISABLE;
  hi2c2.Init.OwnAddress2 = 0;
  hi2c2.Init.OwnAddress2Masks = I2C_OA2_NOMASK;
  hi2c2.Init.GeneralCallMode = I2C_GENERALCALL_DISABLE;
  hi2c2.Init.NoStretchMode = I2C_NOSTRETCH_DISABLE;
  if (HAL_I2C_Init(&hi2c2) != HAL_OK)
  {
    Error_Handler();
  }

  /** Configure Analogue filter
  */
  if (HAL_I2CEx_ConfigAnalogFilter(&hi2c2, I2C_ANALOGFILTER_ENABLE) != HAL_OK)
  {
    Error_Handler();
  }

  /** Configure Digital filter
  */
  if (HAL_I2CEx_ConfigDigitalFilter(&hi2c2, 0) != HAL_OK)
  {
    Error_Handler();
  }

}

static void MX_I2C4_Init(void)
{

  hi2c4.Instance = I2C4;
  hi2c4.Init.Timing = 0x00506682;
  hi2c4.Init.OwnAddress1 = 0;
  hi2c4.Init.AddressingMode = I2C_ADDRESSINGMODE_7BIT;
  hi2c4.Init.DualAddressMode = I2C_DUALADDRESS_DISABLE;
  hi2c4.Init.OwnAddress2 = 0;
  hi2c4.Init.OwnAddress2Masks = I2C_OA2_NOMASK;
  hi2c4.Init.GeneralCallMode = I2C_GENERALCALL_DISABLE;
  hi2c4.Init.NoStretchMode = I2C_NOSTRETCH_DISABLE;
  if (HAL_I2C_Init(&hi2c4) != HAL_OK)
  {
    Error_Handler();
  }

  /** Configure Analogue filter
  */
  if (HAL_I2CEx_ConfigAnalogFilter(&hi2c4, I2C_ANALOGFILTER_ENABLE) != HAL_OK)
  {
    Error_Handler();
  }

  /** Configure Digital filter
  */
  if (HAL_I2CEx_ConfigDigitalFilter(&hi2c4, 0) != HAL_OK)
  {
    Error_Handler();
  }

}

static void MX_SPI4_Init(void)
{

  /* SPI4 parameter configuration*/
  hspi4.Instance = SPI4;
  hspi4.Init.Mode = SPI_MODE_MASTER;
  hspi4.Init.Direction = SPI_DIRECTION_2LINES;
  hspi4.Init.DataSize = SPI_DATASIZE_4BIT;
  hspi4.Init.CLKPolarity = SPI_POLARITY_LOW;
  hspi4.Init.CLKPhase = SPI_PHASE_1EDGE;
  hspi4.Init.NSS = SPI_NSS_SOFT;
  hspi4.Init.BaudRatePrescaler = SPI_BAUDRATEPRESCALER_2;
  hspi4.Init.FirstBit = SPI_FIRSTBIT_MSB;
  hspi4.Init.TIMode = SPI_TIMODE_DISABLE;
  hspi4.Init.CRCCalculation = SPI_CRCCALCULATION_DISABLE;
  hspi4.Init.CRCPolynomial = 7;
  hspi4.Init.CRCLength = SPI_CRC_LENGTH_DATASIZE;
  hspi4.Init.NSSPMode = SPI_NSS_PULSE_ENABLE;
  if (HAL_SPI_Init(&hspi4) != HAL_OK)
  {
    Error_Handler();
  }

}

static void MX_SPI6_Init(void)
{

  /* SPI6 parameter configuration*/
  hspi6.Instance = SPI6;
  hspi6.Init.Mode = SPI_MODE_MASTER;
  hspi6.Init.Direction = SPI_DIRECTION_2LINES;
  hspi6.Init.DataSize = SPI_DATASIZE_4BIT;
  hspi6.Init.CLKPolarity = SPI_POLARITY_LOW;
  hspi6.Init.CLKPhase = SPI_PHASE_1EDGE;
  hspi6.Init.NSS = SPI_NSS_SOFT;
  hspi6.Init.BaudRatePrescaler = SPI_BAUDRATEPRESCALER_2;
  hspi6.Init.FirstBit = SPI_FIRSTBIT_MSB;
  hspi6.Init.TIMode = SPI_TIMODE_DISABLE;
  hspi6.Init.CRCCalculation = SPI_CRCCALCULATION_DISABLE;
  hspi6.Init.CRCPolynomial = 7;
  hspi6.Init.CRCLength = SPI_CRC_LENGTH_DATASIZE;
  hspi6.Init.NSSPMode = SPI_NSS_PULSE_ENABLE;
  if (HAL_SPI_Init(&hspi6) != HAL_OK)
  {
    Error_Handler();
  }

}

static void MX_TIM1_Init(void)
{

  TIM_ClockConfigTypeDef sClockSourceConfig = {0};
  TIM_MasterConfigTypeDef sMasterConfig = {0};

  htim1.Instance = TIM1;
  htim1.Init.Prescaler = 47999;
  htim1.Init.CounterMode = TIM_COUNTERMODE_UP;
  htim1.Init.Period = 999;
  htim1.Init.ClockDivision = TIM_CLOCKDIVISION_DIV1;
  htim1.Init.RepetitionCounter = 0;
  htim1.Init.AutoReloadPreload = TIM_AUTORELOAD_PRELOAD_DISABLE;
  if (HAL_TIM_Base_Init(&htim1) != HAL_OK)
  {
    Error_Handler();
  }
  sClockSourceConfig.ClockSource = TIM_CLOCKSOURCE_INTERNAL;
  if (HAL_TIM_ConfigClockSource(&htim1, &sClockSourceConfig) != HAL_OK)
  {
    Error_Handler();
  }
  sMasterConfig.MasterOutputTrigger = TIM_TRGO_RESET;
  sMasterConfig.MasterOutputTrigger2 = TIM_TRGO2_RESET;
  sMasterConfig.MasterSlaveMode = TIM_MASTERSLAVEMODE_DISABLE;
  if (HAL_TIMEx_MasterConfigSynchronization(&htim1, &sMasterConfig) != HAL_OK)
  {
    Error_Handler();
  }

}

static void MX_TIM2_Init(void)
{

  TIM_ClockConfigTypeDef sClockSourceConfig = {0};
  TIM_MasterConfigTypeDef sMasterConfig = {0};

  htim2.Instance = TIM2;
  htim2.Init.Prescaler = 0;
  htim2.Init.CounterMode = TIM_COUNTERMODE_UP;
  htim2.Init.Period = 479999;
  htim2.Init.ClockDivision = TIM_CLOCKDIVISION_DIV1;
  htim2.Init.AutoReloadPreload = TIM_AUTORELOAD_PRELOAD_DISABLE;
  if (HAL_TIM_Base_Init(&htim2) != HAL_OK)
  {
    Error_Handler();
  }
  sClockSourceConfig.ClockSource = TIM_CLOCKSOURCE_INTERNAL;
  if (HAL_TIM_ConfigClockSource(&htim2, &sClockSourceConfig) != HAL_OK)
  {
    Error_Handler();
  }
  sMasterConfig.MasterOutputTrigger = TIM_TRGO_UPDATE;
  sMasterConfig.MasterSlaveMode = TIM_MASTERSLAVEMODE_DISABLE;
  if (HAL_TIMEx_MasterConfigSynchronization(&htim2, &sMasterConfig) != HAL_OK)
  {
    Error_Handler();
  }
  /* USER CODE BEGIN TIM2_Init 2 */
  if (HAL_TIM_Base_Start_IT(&htim2) != HAL_OK) {
      Error_Handler();
  }
  /* USER CODE END TIM2_Init 2 */

}

static void MX_USART3_UART_Init(void)
{

  huart3.Instance = USART3;
  huart3.Init.BaudRate = 115200;
  huart3.Init.WordLength = UART_WORDLENGTH_8B;
  huart3.Init.StopBits = UART_STOPBITS_1;
  huart3.Init.Parity = UART_PARITY_NONE;
  huart3.Init.Mode = UART_MODE_TX_RX;
  huart3.Init.HwFlowCtl = UART_HWCONTROL_NONE;
  huart3.Init.OverSampling = UART_OVERSAMPLING_16;
  huart3.Init.OneBitSampling = UART_ONE_BIT_SAMPLE_DISABLE;
  huart3.AdvancedInit.AdvFeatureInit = UART_ADVFEATURE_NO_INIT;
  if (HAL_UART_Init(&huart3) != HAL_OK)
  {
    Error_Handler();
  }

}

static void MX_DMA_Init(void)
{

  /* DMA controller clock enable */
  __HAL_RCC_DMA2_CLK_ENABLE();
  __HAL_RCC_DMA1_CLK_ENABLE();

  /* DMA interrupt init */
  /* DMA1_Stream5_IRQn interrupt configuration */
  HAL_NVIC_SetPriority(DMA1_Stream5_IRQn, 5, 0);
  HAL_NVIC_EnableIRQ(DMA1_Stream5_IRQn);
  /* DMA1_Stream6_IRQn interrupt configuration */
  HAL_NVIC_SetPriority(DMA1_Stream6_IRQn, 5, 0);
  HAL_NVIC_EnableIRQ(DMA1_Stream6_IRQn);
  /* DMA2_Stream0_IRQn interrupt configuration */
  HAL_NVIC_SetPriority(DMA2_Stream0_IRQn, 5, 0);
  HAL_NVIC_EnableIRQ(DMA2_Stream0_IRQn);
  /* DMA2_Stream1_IRQn interrupt configuration */
  HAL_NVIC_SetPriority(DMA2_Stream1_IRQn, 5, 0);
  HAL_NVIC_EnableIRQ(DMA2_Stream1_IRQn);
  /* DMA2_Stream2_IRQn interrupt configuration */
  HAL_NVIC_SetPriority(DMA2_Stream2_IRQn, 5, 0);
  HAL_NVIC_EnableIRQ(DMA2_Stream2_IRQn);

}

static void MX_GPIO_Init(void)
{
  GPIO_InitTypeDef GPIO_InitStruct = {0};

  /* GPIO Ports Clock Enable */
  __HAL_RCC_GPIOE_CLK_ENABLE();
  __HAL_RCC_GPIOC_CLK_ENABLE();
  __HAL_RCC_GPIOF_CLK_ENABLE();
  __HAL_RCC_GPIOH_CLK_ENABLE();
  __HAL_RCC_GPIOA_CLK_ENABLE();
  __HAL_RCC_GPIOB_CLK_ENABLE();
  __HAL_RCC_GPIOG_CLK_ENABLE();
  __HAL_RCC_GPIOD_CLK_ENABLE();

  /*Configure GPIO pin Output Level */
  HAL_GPIO_WritePin(GPIOF, GPIO_PIN_12|GPIO_PIN_13, GPIO_PIN_RESET);

  /*Configure GPIO pin Output Level */
  HAL_GPIO_WritePin(GPIOE, GPIO_PIN_7|GPIO_PIN_8|GPIO_PIN_9|GPIO_PIN_11
                          |GPIO_PIN_13, GPIO_PIN_RESET);

  /*Configure GPIO pin Output Level */
  HAL_GPIO_WritePin(GPIOD, GPIO_PIN_14|GPIO_PIN_15, GPIO_PIN_RESET);

  /*Configure GPIO pin Output Level */
  HAL_GPIO_WritePin(GPIOG, GPIO_PIN_9, GPIO_PIN_RESET);

  /*Configure GPIO pin Output Level */
  HAL_GPIO_WritePin(LD2_GPIO_Port, LD2_Pin, GPIO_PIN_RESET);

  /*Configure GPIO pins : PE3 PE4 PE10 PE12
                           PE14 PE15 PE0 PE1 */
  GPIO_InitStruct.Pin = GPIO_PIN_3|GPIO_PIN_4|GPIO_PIN_10|GPIO_PIN_12
                          |GPIO_PIN_14|GPIO_PIN_15|GPIO_PIN_0|GPIO_PIN_1;
  GPIO_InitStruct.Mode = GPIO_MODE_ANALOG;
  GPIO_InitStruct.Pull = GPIO_NOPULL;
  HAL_GPIO_Init(GPIOE, &GPIO_InitStruct);

  /*Configure GPIO pin : USER_Btn_Pin */
  GPIO_InitStruct.Pin = USER_Btn_Pin;
  GPIO_InitStruct.Mode = GPIO_MODE_IT_RISING;
  GPIO_InitStruct.Pull = GPIO_NOPULL;
  HAL_GPIO_Init(USER_Btn_GPIO_Port, &GPIO_InitStruct);

  /*Configure GPIO pins : PF2 PF11 */
  GPIO_InitStruct.Pin = GPIO_PIN_2|GPIO_PIN_11;
  GPIO_InitStruct.Mode = GPIO_MODE_ANALOG;
  GPIO_InitStruct.Pull = GPIO_NOPULL;
  HAL_GPIO_Init(GPIOF, &GPIO_InitStruct);

  /*Configure GPIO pins : PB2 PB10 PB11 PB12
                           PB14 PB15 PB4 PB6 */
  GPIO_InitStruct.Pin = GPIO_PIN_2|GPIO_PIN_10|GPIO_PIN_11|GPIO_PIN_12
                          |GPIO_PIN_14|GPIO_PIN_15|GPIO_PIN_4|GPIO_PIN_6;
  GPIO_InitStruct.Mode = GPIO_MODE_ANALOG;
  GPIO_InitStruct.Pull = GPIO_NOPULL;
  HAL_GPIO_Init(GPIOB, &GPIO_InitStruct);

  /*Configure GPIO pins : PF12 PF13 */
  GPIO_InitStruct.Pin = GPIO_PIN_12|GPIO_PIN_13;
  GPIO_InitStruct.Mode = GPIO_MODE_OUTPUT_PP;
  GPIO_InitStruct.Pull = GPIO_NOPULL;
  GPIO_InitStruct.Speed = GPIO_SPEED_FREQ_LOW;
  HAL_GPIO_Init(GPIOF, &GPIO_InitStruct);

  /*Configure GPIO pins : PG0 PG1 PG2 PG3
                           PG4 PG5 PG6 PG8
                           PG10 PG11 PG15 */
  GPIO_InitStruct.Pin = GPIO_PIN_0|GPIO_PIN_1|GPIO_PIN_2|GPIO_PIN_3
                          |GPIO_PIN_4|GPIO_PIN_5|GPIO_PIN_6|GPIO_PIN_8
                          |GPIO_PIN_10|GPIO_PIN_11|GPIO_PIN_15;
  GPIO_InitStruct.Mode = GPIO_MODE_ANALOG;
  GPIO_InitStruct.Pull = GPIO_NOPULL;
  HAL_GPIO_Init(GPIOG, &GPIO_InitStruct);

  /*Configure GPIO pins : PE7 PE8 PE9 PE11
                           PE13 */
  GPIO_InitStruct.Pin = GPIO_PIN_7|GPIO_PIN_8|GPIO_PIN_9|GPIO_PIN_11
                          |GPIO_PIN_13;
  GPIO_InitStruct.Mode = GPIO_MODE_OUTPUT_PP;
  GPIO_InitStruct.Pull = GPIO_NOPULL;
  GPIO_InitStruct.Speed = GPIO_SPEED_FREQ_LOW;
  HAL_GPIO_Init(GPIOE, &GPIO_InitStruct);

  /*Configure GPIO pins : PD10 PD11 PD12 PD13
                           PD3 PD4 PD5 PD6
                           PD7 */
  GPIO_InitStruct.Pin = GPIO_PIN_10|GPIO_PIN_11|GPIO_PIN_12|GPIO_PIN_13
                          |GPIO_PIN_3|GPIO_PIN_4|GPIO_PIN_5|GPIO_PIN_6
                          |GPIO_PIN_7;
  GPIO_InitStruct.Mode = GPIO_MODE_ANALOG;
  GPIO_InitStruct.Pull = GPIO_NOPULL;
  HAL_GPIO_Init(GPIOD, &GPIO_InitStruct);

  /*Configure GPIO pins : PD14 PD15 */
  GPIO_InitStruct.Pin = GPIO_PIN_14|GPIO_PIN_15;
  GPIO_InitStruct.Mode = GPIO_MODE_OUTPUT_PP;
  GPIO_InitStruct.Pull = GPIO_NOPULL;
  GPIO_InitStruct.Speed = GPIO_SPEED_FREQ_LOW;
  HAL_GPIO_Init(GPIOD, &GPIO_InitStruct);

  /*Configure GPIO pin : USB_OverCurrent_Pin */
  GPIO_InitStruct.Pin = USB_OverCurrent_Pin;
  GPIO_InitStruct.Mode = GPIO_MODE_INPUT;
  GPIO_InitStruct.Pull = GPIO_NOPULL;
  HAL_GPIO_Init(USB_OverCurrent_GPIO_Port, &GPIO_InitStruct);

  /*Configure GPIO pins : PC6 PC7 PC8 PC9
                           PC10 PC11 PC12 */
  GPIO_InitStruct.Pin = GPIO_PIN_6|GPIO_PIN_7|GPIO_PIN_8|GPIO_PIN_9
                          |GPIO_PIN_10|GPIO_PIN_11|GPIO_PIN_12;
  GPIO_InitStruct.Mode = GPIO_MODE_AF_PP;
  GPIO_InitStruct.Pull = GPIO_NOPULL;
  GPIO_InitStruct.Speed = GPIO_SPEED_FREQ_VERY_HIGH;
  GPIO_InitStruct.Alternate = GPIO_AF12_SDMMC1;
  HAL_GPIO_Init(GPIOC, &GPIO_InitStruct);

  /*Configure GPIO pins : PA9 PA10 PA11 PA12 */
  GPIO_InitStruct.Pin = GPIO_PIN_9|GPIO_PIN_10|GPIO_PIN_11|GPIO_PIN_12;
  GPIO_InitStruct.Mode = GPIO_MODE_ANALOG;
  GPIO_InitStruct.Pull = GPIO_NOPULL;
  HAL_GPIO_Init(GPIOA, &GPIO_InitStruct);

  /*Configure GPIO pin : PD2 */
  GPIO_InitStruct.Pin = GPIO_PIN_2;
  GPIO_InitStruct.Mode = GPIO_MODE_AF_PP;
  GPIO_InitStruct.Pull = GPIO_NOPULL;
  GPIO_InitStruct.Speed = GPIO_SPEED_FREQ_VERY_HIGH;
  GPIO_InitStruct.Alternate = GPIO_AF12_SDMMC1;
  HAL_GPIO_Init(GPIOD, &GPIO_InitStruct);

  /*Configure GPIO pin : PG9 */
  GPIO_InitStruct.Pin = GPIO_PIN_9;
  GPIO_InitStruct.Mode = GPIO_MODE_OUTPUT_PP;
  GPIO_InitStruct.Pull = GPIO_NOPULL;
  GPIO_InitStruct.Speed = GPIO_SPEED_FREQ_LOW;
  HAL_GPIO_Init(GPIOG, &GPIO_InitStruct);

  /*Configure GPIO pin : LD2_Pin */
  GPIO_InitStruct.Pin = LD2_Pin;
  GPIO_InitStruct.Mode = GPIO_MODE_OUTPUT_PP;
  GPIO_InitStruct.Pull = GPIO_NOPULL;
  GPIO_InitStruct.Speed = GPIO_SPEED_FREQ_LOW;
  HAL_GPIO_Init(LD2_GPIO_Port, &GPIO_InitStruct);

  /*Configure GPIO pins : PB8 PB9 */
  GPIO_InitStruct.Pin = GPIO_PIN_8|GPIO_PIN_9;
  GPIO_InitStruct.Mode = GPIO_MODE_AF_PP;
  GPIO_InitStruct.Pull = GPIO_NOPULL;
  GPIO_InitStruct.Speed = GPIO_SPEED_FREQ_VERY_HIGH;
  GPIO_InitStruct.Alternate = GPIO_AF12_SDMMC1;
  HAL_GPIO_Init(GPIOB, &GPIO_InitStruct);

}

/* USER CODE BEGIN 4 */
// Override the _write function to reroute printf to USART3
int _write(int file, char *data, int len)
{
    // Transmit data using USART3
    HAL_UART_Transmit(&huart3, (uint8_t *)data, len, HAL_MAX_DELAY);
    return len;

#endif // <--- DONT DELETE THIS, IT IS LINKED TO LAST LINE IN MAIN FUNCTION TO ALLOW SIL BUILDS

}

/* FreeRTOS hooks */
void vApplicationMallocFailedHook(void) {
    printf("ERROR: FreeRTOS malloc failed!\n");
    for(;;);
}

void vApplicationIdleHook(void) {
    // Called when no tasks are running
    // Can enter low power mode here
}

void vApplicationStackOverflowHook(TaskHandle_t xTask, char *pcTaskName) {
    printf("ERROR: Stack overflow in task: %s\n", pcTaskName);
    for(;;);
}

void vApplicationTickHook(void) {
    // Called on each FreeRTOS tick (optional)
    // Keep this very short and fast
}
/* USER CODE END 4 */

void StartDefaultTask(void *argument)
{
  for(;;)
  {
    osDelay(1);
  }
}

void Error_Handler(void)
{
  /* USER CODE BEGIN Error_Handler_Debug */
  /* User can add his own implementation to report the HAL error return state */

  #ifndef TEST_MODE
  __disable_irq();
  #endif

  while (1)
  {
    printf("Error_Handler\r\n");
  }
  /* USER CODE END Error_Handler_Debug */
}
